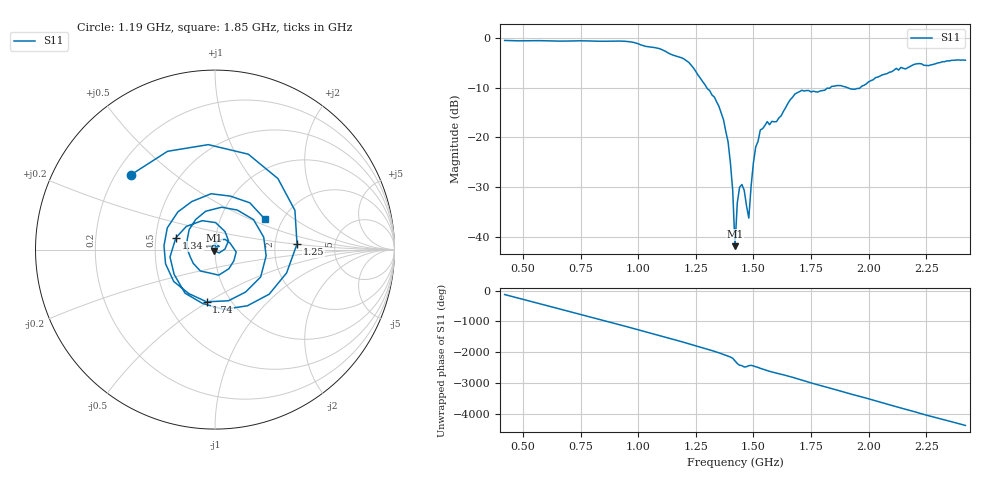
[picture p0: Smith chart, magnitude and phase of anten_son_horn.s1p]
#  HZ  S  RI  R  50.00
! Rohde & Schwarz Vector Network Analyzer
! Rohde-Schwarz,ZNB8-4Port,REDACTED,3.12
! Created: UTC 3/18/2026, 7:24:49 PM
! freq[Hz]  re:S11  im:S11
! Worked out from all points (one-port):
!   201 points, 420 MHz to 2.42 GHz, reference 50 ohm
!   lowest |S11| = -41.8 dB at 1.42 GHz (marker M1), VSWR 1.02, Z = 49.5 - j0.645 ohm
!   |S11| at or under -10 dB: 1.297 GHz to 1.834 GHz (537.2 MHz wide, 34.3 % of centre); 1.906 GHz to 1.964 GHz (58.31 MHz wide, 3.01 % of centre)
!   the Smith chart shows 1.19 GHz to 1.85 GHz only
!   S11 on the Smith chart (normalised r, x): 1.19 GHz: 0.26, +0.36; 1.25 GHz: 2.67, +0.21; 1.34 GHz: 0.64, +0.09; 1.74 GHz: 0.77, -0.49; 1.85 GHz: 1.62, +0.62
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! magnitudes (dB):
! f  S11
! 420 MHz  -0.6
! 670 MHz  -0.7
! 920 MHz  -0.7
! 1.17 GHz  -3.8
! 1.19 GHz  -4.1
! 1.25 GHz  -6.8
! 1.34 GHz  -12.9
! 1.37 GHz  -16.5
! 1.39 GHz  -20.9
! 1.41 GHz  -30.6
! 1.42 GHz  -41.8
! 1.43 GHz  -33.1
! 1.44 GHz  -30.0
! 1.45 GHz  -29.5
! 1.46 GHz  -30.6
! 1.48 GHz  -36.2
! 1.49 GHz  -29.7
! 1.5 GHz  -25.1
! 1.51 GHz  -21.9
! 1.53 GHz  -18.5
! 1.56 GHz  -16.8
! 1.6 GHz  -16.9
! 1.67 GHz  -11.9
! 1.74 GHz  -10.6
! 1.85 GHz  -9.7
! 1.92 GHz  -10.3
! 2.17 GHz  -6.0
! 2.42 GHz  -4.5
